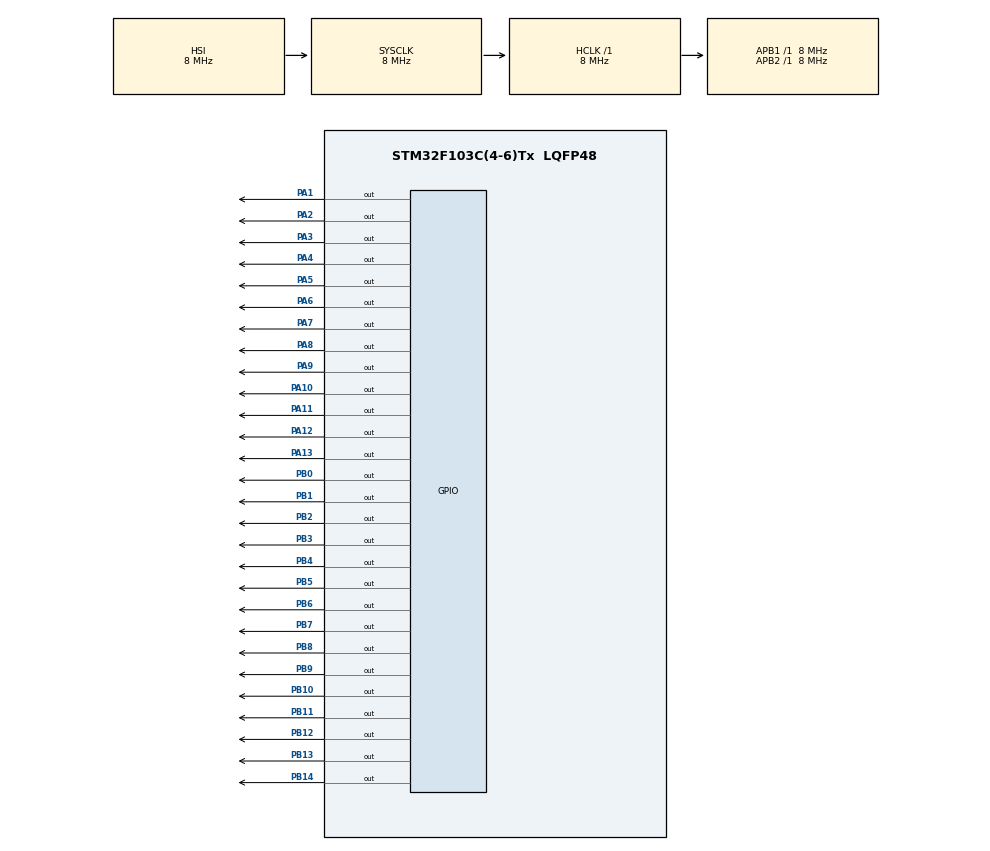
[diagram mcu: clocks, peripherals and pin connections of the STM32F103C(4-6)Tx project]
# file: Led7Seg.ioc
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Mcu.Family=STM32F1
Mcu.Name=STM32F103C(4-6)Tx
Mcu.Package=LQFP48
NVIC.PriorityGroup=NVIC_PRIORITYGROUP_4
NVIC.TIM2_IRQn=true\:0\:0\:false\:false\:true\:true\:true
PA1.Signal=GPIO_Output
PA10.Signal=GPIO_Output
PA11.Signal=GPIO_Output
PA12.Signal=GPIO_Output
PA13.Signal=GPIO_Output
PA2.Signal=GPIO_Output
PA3.Signal=GPIO_Output
PA4.Signal=GPIO_Output
PA5.Signal=GPIO_Output
PA6.Signal=GPIO_Output
PA7.Signal=GPIO_Output
PA8.Signal=GPIO_Output
PA9.Signal=GPIO_Output
PB0.Signal=GPIO_Output
PB1.Signal=GPIO_Output
PB10.Signal=GPIO_Output
PB11.Signal=GPIO_Output
PB12.Signal=GPIO_Output
PB13.Signal=GPIO_Output
PB14.Signal=GPIO_Output
PB2.Signal=GPIO_Output
PB3.Signal=GPIO_Output
PB4.Signal=GPIO_Output
PB5.Signal=GPIO_Output
PB6.Signal=GPIO_Output
PB7.Signal=GPIO_Output
PB8.Signal=GPIO_Output
PB9.Signal=GPIO_Output
ProjectManager.HeapSize=0x200
ProjectManager.StackSize=0x400
ProjectManager.TargetToolchain=STM32CubeIDE
RCC.AHBFreq_Value=8000000
RCC.APB1Freq_Value=8000000
RCC.APB1TimFreq_Value=8000000
RCC.APB2Freq_Value=8000000
RCC.APB2TimFreq_Value=8000000
RCC.HCLKFreq_Value=8000000
RCC.SYSCLKFreq_VALUE=8000000
RCC.USBFreq_Value=8000000
TIM2.Period=9
TIM2.Prescaler=7999
VP_SYS_VS_ND.Mode=No_Debug
VP_TIM2_VS_ClockSourceINT.Mode=Internal
board=custom

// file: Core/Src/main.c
/* USER CODE BEGIN Header */
/**
  ******************************************************************************
  * @file           : main.c
  * @brief          : Main program body
  ******************************************************************************
  * @attention
  *
  * <h2><center>&copy; Copyright (c) 2021 STMicroelectronics.
  * All rights reserved.</center></h2>
  *
  * This software component is licensed by ST under BSD 3-Clause license,
  * the "License"; You may not use this file except in compliance with the
  * License. You may obtain a copy of the License at:
  *                        opensource.org/licenses/BSD-3-Clause
  *
  ******************************************************************************
  */
/* USER CODE END Header */
#include "main.h"

/* USER CODE BEGIN PD */
#define IS_LED7SEG_VALUE(VALUE) (VALUE > -1 && VALUE < 10)
/* USER CODE END PD */

TIM_HandleTypeDef htim2;

/* USER CODE BEGIN PV */
const int MAX_LED = 4;
int index_led = 0;
static char led_buffer[4] = {1, 2, 3, 0};
int hour = 23, minute = 03, second = 0;
char count = 0;
//int LED = 5;
int ledIndex = 0;

int timer0_counter = 0;
int timer0_flag = 0;

int timer1_counter = 0;
int timer1_flag = 0;

int timer2_counter = 0;
int timer2_flag = 0;

int timer3_counter = 0;
int timer3_flag = 0;

int TIMER_CYCLE = 10;

const int MAX_LED_MATRIX = 8;
int index_led_matrix = 0;
uint8_t matrix_buffer [8] = {0x18 , 0x3C , 0x66 , 0x66 , 0x7E , 0x7E , 0x66 , 0x66 };
uint8_t matrix [14][8] = {	{0x00 , 0x00 , 0x00 , 0x00 , 0x00 , 0x00 , 0x00 , 0x00 },

							{0x00 , 0x00 , 0x80 , 0x80 , 0x80 , 0x80 , 0x80 , 0x80 },
							{0x00 , 0x80 , 0xC0 , 0xC0 , 0xC0 , 0xC0 , 0xC0 , 0xC0 },
							{0x80 , 0xC0 , 0x60 , 0x60 , 0xE0 , 0xE0 , 0x60 , 0x60 },
							{0xC0 , 0xE0 , 0x30 , 0x30 , 0xF0 , 0xF0 , 0x30 , 0x30 },
							{0x60 , 0xF0 , 0x98 , 0x98 , 0xF8 , 0xF8 , 0x98 , 0x98 },
							{0x30 , 0x78 , 0xCC , 0xCC , 0xFC , 0xFC , 0xCC , 0xCC },

							{0x18 , 0x3C , 0x66 , 0x66 , 0x7E , 0x7E , 0x66 , 0x66 },

							{0x0C , 0x1E , 0x33 , 0x33 , 0x3F , 0x3F , 0x33 , 0x33 },
							{0x06 , 0x0F , 0x19 , 0x19 , 0x1F , 0x1F , 0x19 , 0x19 },
							{0x03 , 0x07 , 0x0C , 0x0C , 0x0F , 0x0F , 0x0C , 0x0C },
							{0x01 , 0x03 , 0x06 , 0x06 , 0x07 , 0x07 , 0x06 , 0x06 },
							{0x00 , 0x01 , 0x03 , 0x03 , 0x03 , 0x03 , 0x03 , 0x03 },
							{0x00 , 0x00 , 0x01 , 0x01 , 0x01 , 0x01 , 0x01 , 0x01 }};

/* USER CODE END PV */

void SystemClock_Config(void);
static void MX_TIM2_Init(void);
static void MX_GPIO_Init(void);
/* USER CODE BEGIN PFP */
void display7SEG(int);
void update7SEG (int);
void updateClockBuffer();
void setTimer0(int);
void setTimer1(int);
void setTimer2(int);
void setTimer3(int);
void timer_run();

void updateLEDMatrix(int, int);

/* USER CODE END PFP */

int main(void)
{

  /* MCU Configuration--------------------------------------------------------*/

  /* Reset of all peripherals, Initializes the Flash interface and the Systick. */
  HAL_Init();

  /* Configure the system clock */
  SystemClock_Config();

  /* Initialize all configured peripherals */
  MX_TIM2_Init();
  MX_GPIO_Init();
  /* USER CODE BEGIN 2 */
  HAL_TIM_Base_Start_IT(&htim2);
  /* USER CODE END 2 */

  /* Infinite loop */
  /* USER CODE BEGIN WHILE */
  setTimer0(10);
  setTimer1(10);
  setTimer2(10);
  setTimer3(10);
  int animation = 7;
  while (1)
  {
    /* USER CODE END WHILE */

    /* USER CODE BEGIN 3 */
/*
	  if (timer0_flag == 1)
	  {
		  second ++;
		  if (second > 59){
			  second = 0;
			  minute++;
		  }
		  if (minute > 59){
			  minute = 0;
			  hour++;
		  }
		  if (hour > 23){
			  hour = 0;
		  }
		  updateClockBuffer ();
		  setTimer0(1000);
	  }
	  if (timer1_flag == 1)
	  {
		  HAL_GPIO_TogglePin(GPIOA, GPIO_PIN_9);
		  setTimer1(500);
	  }
	  if (timer2_flag == 1)
	  {
		  if (ledIndex == 4) ledIndex = 0;
		  update7SEG(ledIndex++);
		  setTimer2(250);
	  }
*/
	  if (timer3_flag == 1)
	  {
		  if (index_led_matrix == MAX_LED_MATRIX) {
			  index_led_matrix = 0;
			  if (++animation == 14) animation = 0;
		  }

		  updateLEDMatrix(index_led_matrix++, animation);
		  setTimer3(100);
	  }

  }
  /* USER CODE END 3 */
}

void SystemClock_Config(void)
{
  RCC_OscInitTypeDef RCC_OscInitStruct = {0};
  RCC_ClkInitTypeDef RCC_ClkInitStruct = {0};

  /** Initializes the RCC Oscillators according to the specified parameters
  * in the RCC_OscInitTypeDef structure.
  */
  RCC_OscInitStruct.OscillatorType = RCC_OSCILLATORTYPE_HSI;
  RCC_OscInitStruct.HSIState = RCC_HSI_ON;
  RCC_OscInitStruct.HSICalibrationValue = RCC_HSICALIBRATION_DEFAULT;
  RCC_OscInitStruct.PLL.PLLState = RCC_PLL_NONE;
  if (HAL_RCC_OscConfig(&RCC_OscInitStruct) != HAL_OK)
  {
    Error_Handler();
  }
  /** Initializes the CPU, AHB and APB buses clocks
  */
  RCC_ClkInitStruct.ClockType = RCC_CLOCKTYPE_HCLK|RCC_CLOCKTYPE_SYSCLK
                              |RCC_CLOCKTYPE_PCLK1|RCC_CLOCKTYPE_PCLK2;
  RCC_ClkInitStruct.SYSCLKSource = RCC_SYSCLKSOURCE_HSI;
  RCC_ClkInitStruct.AHBCLKDivider = RCC_SYSCLK_DIV1;
  RCC_ClkInitStruct.APB1CLKDivider = RCC_HCLK_DIV1;
  RCC_ClkInitStruct.APB2CLKDivider = RCC_HCLK_DIV1;

  if (HAL_RCC_ClockConfig(&RCC_ClkInitStruct, FLASH_LATENCY_0) != HAL_OK)
  {
    Error_Handler();
  }
}

static void MX_TIM2_Init(void)
{

  TIM_ClockConfigTypeDef sClockSourceConfig = {0};
  TIM_MasterConfigTypeDef sMasterConfig = {0};

  htim2.Instance = TIM2;
  htim2.Init.Prescaler = 7999;
  htim2.Init.CounterMode = TIM_COUNTERMODE_UP;
  htim2.Init.Period = 9;
  htim2.Init.ClockDivision = TIM_CLOCKDIVISION_DIV1;
  htim2.Init.AutoReloadPreload = TIM_AUTORELOAD_PRELOAD_DISABLE;
  if (HAL_TIM_Base_Init(&htim2) != HAL_OK)
  {
    Error_Handler();
  }
  sClockSourceConfig.ClockSource = TIM_CLOCKSOURCE_INTERNAL;
  if (HAL_TIM_ConfigClockSource(&htim2, &sClockSourceConfig) != HAL_OK)
  {
    Error_Handler();
  }
  sMasterConfig.MasterOutputTrigger = TIM_TRGO_RESET;
  sMasterConfig.MasterSlaveMode = TIM_MASTERSLAVEMODE_DISABLE;
  if (HAL_TIMEx_MasterConfigSynchronization(&htim2, &sMasterConfig) != HAL_OK)
  {
    Error_Handler();
  }

}

static void MX_GPIO_Init(void)
{
  GPIO_InitTypeDef GPIO_InitStruct = {0};

  /* GPIO Ports Clock Enable */
  __HAL_RCC_GPIOA_CLK_ENABLE();
  __HAL_RCC_GPIOB_CLK_ENABLE();

  /*Configure GPIO pin Output Level */
  HAL_GPIO_WritePin(GPIOA, GPIO_PIN_1|GPIO_PIN_2|GPIO_PIN_3|GPIO_PIN_4
                          |GPIO_PIN_5|GPIO_PIN_6|GPIO_PIN_7|GPIO_PIN_8
                          |GPIO_PIN_9|GPIO_PIN_10|GPIO_PIN_11|GPIO_PIN_12
                          |GPIO_PIN_13, GPIO_PIN_RESET);

  /*Configure GPIO pin Output Level */
  HAL_GPIO_WritePin(GPIOB, GPIO_PIN_0|GPIO_PIN_1|GPIO_PIN_2|GPIO_PIN_10
                          |GPIO_PIN_11|GPIO_PIN_12|GPIO_PIN_13|GPIO_PIN_14
                          |GPIO_PIN_3|GPIO_PIN_4|GPIO_PIN_5|GPIO_PIN_6
                          |GPIO_PIN_7|GPIO_PIN_8|GPIO_PIN_9, GPIO_PIN_RESET);

  /*Configure GPIO pins : PA1 PA2 PA3 PA4
                           PA5 PA6 PA7 PA8
                           PA9 PA10 PA11 PA12
                           PA13 */
  GPIO_InitStruct.Pin = GPIO_PIN_1|GPIO_PIN_2|GPIO_PIN_3|GPIO_PIN_4
                          |GPIO_PIN_5|GPIO_PIN_6|GPIO_PIN_7|GPIO_PIN_8
                          |GPIO_PIN_9|GPIO_PIN_10|GPIO_PIN_11|GPIO_PIN_12
                          |GPIO_PIN_13;
  GPIO_InitStruct.Mode = GPIO_MODE_OUTPUT_PP;
  GPIO_InitStruct.Pull = GPIO_NOPULL;
  GPIO_InitStruct.Speed = GPIO_SPEED_FREQ_LOW;
  HAL_GPIO_Init(GPIOA, &GPIO_InitStruct);

  /*Configure GPIO pins : PB0 PB1 PB2 PB10
                           PB11 PB12 PB13 PB14
                           PB3 PB4 PB5 PB6
                           PB7 PB8 PB9 */
  GPIO_InitStruct.Pin = GPIO_PIN_0|GPIO_PIN_1|GPIO_PIN_2|GPIO_PIN_10
                          |GPIO_PIN_11|GPIO_PIN_12|GPIO_PIN_13|GPIO_PIN_14
                          |GPIO_PIN_3|GPIO_PIN_4|GPIO_PIN_5|GPIO_PIN_6
                          |GPIO_PIN_7|GPIO_PIN_8|GPIO_PIN_9;
  GPIO_InitStruct.Mode = GPIO_MODE_OUTPUT_PP;
  GPIO_InitStruct.Pull = GPIO_NOPULL;
  GPIO_InitStruct.Speed = GPIO_SPEED_FREQ_LOW;
  HAL_GPIO_Init(GPIOB, &GPIO_InitStruct);

}

/* USER CODE BEGIN 4 */
void display7SEG(int NUM)
{
	assert_param(IS_LED7SEG_VALUE(NUM));
	uint16_t LED_Cathod[10] = {0x3F, 0x06, 0x5B, 0x4F, 0x66, 0x6D, 0x7D, 0x07, 0x7F, 0x6F};
	GPIOB->BSRR =  (uint32_t)((LED_Cathod[NUM]) << 16) | (~LED_Cathod[NUM]);
}

void updateClockBuffer()
{
	led_buffer[0] = hour / 10;
	led_buffer[1] = hour % 10;
	led_buffer[2] = minute / 10;
	led_buffer[3] = minute % 10;
}
void update7SEG (int index)
{
	//GPIOA->BSRR = (uint32_t)(1 << (22 + index)) | ~(~(GPIO_PIN_6 | GPIO_PIN_7 | GPIO_PIN_8 | GPIO_PIN_9) | (1 << (index + 6)));
	//display7SEG(led_buffer[index]);
	switch (index)
	{
	case 0:
		GPIOA->BSRR = (uint32_t)GPIO_PIN_10 << 16 | GPIO_PIN_11 | GPIO_PIN_12 | GPIO_PIN_13 ;
		//HAL_GPIO_WritePin(GPIOA, GPIO_PIN_7 | GPIO_PIN_8 | GPIO_PIN_9, GPIO_PIN_SET);
		//HAL_GPIO_WritePin(GPIOA, GPIO_PIN_6, GPIO_PIN_RESET);
		display7SEG(led_buffer[index]);
		break;
	case 1:
		GPIOA->BSRR = (uint32_t)GPIO_PIN_11 << 16 | GPIO_PIN_10 | GPIO_PIN_12 | GPIO_PIN_13 ;
		//HAL_GPIO_WritePin(GPIOA, GPIO_PIN_6 | GPIO_PIN_8 | GPIO_PIN_9, GPIO_PIN_SET);
		//HAL_GPIO_WritePin(GPIOA, GPIO_PIN_7, GPIO_PIN_RESET);
		display7SEG(led_buffer[index]);
		break;
	case 2:
		GPIOA->BSRR = (uint32_t)GPIO_PIN_12 << 16 | GPIO_PIN_10 | GPIO_PIN_11 | GPIO_PIN_13 ;
		//HAL_GPIO_WritePin(GPIOA, GPIO_PIN_6 | GPIO_PIN_7 | GPIO_PIN_9, GPIO_PIN_SET);
		//HAL_GPIO_WritePin(GPIOA, GPIO_PIN_8, GPIO_PIN_RESET);
		display7SEG(led_buffer[index]);
		break;
	case 3:
		GPIOA->BSRR = (uint32_t)GPIO_PIN_13 << 16 | GPIO_PIN_10 | GPIO_PIN_11 | GPIO_PIN_12 ;
		//HAL_GPIO_WritePin(GPIOA, GPIO_PIN_6 | GPIO_PIN_7 | GPIO_PIN_8, GPIO_PIN_SET);
		//HAL_GPIO_WritePin(GPIOA, GPIO_PIN_9, GPIO_PIN_RESET);
		display7SEG(led_buffer[index]);
		break;
	default:
		break;
	}
}

void updateLEDMatrix (int index, int time ){
	/*
	switch(index)
	{
	case 0:
		GPIOA->BSRR = (uint32_t)matrix_buffer[index] << 17 | ((uint16_t)(~matrix_buffer[index]) << 8 >> 7);
		GPIOB->BSRR = (uint32_t)GPIO_PIN_7 << 16 | GPIO_PIN_8 | GPIO_PIN_9 | GPIO_PIN_10 | GPIO_PIN_11 | GPIO_PIN_12 | GPIO_PIN_13 | GPIO_PIN_14;
		break;
	case 1:
		GPIOA->BSRR = (uint32_t)matrix_buffer[index] << 17 | ((uint16_t)(~matrix_buffer[index]) << 8 >> 7);
		GPIOB->BSRR = (uint32_t)GPIO_PIN_8 << 16 | GPIO_PIN_7 | GPIO_PIN_9 | GPIO_PIN_10 | GPIO_PIN_11 | GPIO_PIN_12 | GPIO_PIN_13 | GPIO_PIN_14;
		break;
	case 2:
		GPIOA->BSRR = (uint32_t)matrix_buffer[index] << 17 | ((uint16_t)(~matrix_buffer[index]) << 8 >> 7);
		GPIOB->BSRR = (uint32_t)GPIO_PIN_9 << 16 | GPIO_PIN_7 | GPIO_PIN_8 | GPIO_PIN_10 | GPIO_PIN_11 | GPIO_PIN_12 | GPIO_PIN_13 | GPIO_PIN_14;
		break;
	case 3:
		GPIOA->BSRR = (uint32_t)matrix_buffer[index] << 17 | ((uint16_t)(~matrix_buffer[index]) << 8 >> 7);
		GPIOB->BSRR = (uint32_t)GPIO_PIN_10 << 16 | GPIO_PIN_7 | GPIO_PIN_8 | GPIO_PIN_9 | GPIO_PIN_11 | GPIO_PIN_12 | GPIO_PIN_13 | GPIO_PIN_14;
		break;
	case 4:
		GPIOA->BSRR = (uint32_t)matrix_buffer[index] << 17 | ((uint16_t)(~matrix_buffer[index]) << 8 >> 7);
		GPIOB->BSRR = (uint32_t)GPIO_PIN_11 << 16 | GPIO_PIN_7 | GPIO_PIN_8 | GPIO_PIN_9 | GPIO_PIN_10 | GPIO_PIN_12 | GPIO_PIN_13 | GPIO_PIN_14;
		break;
	case 5:
		GPIOA->BSRR = (uint32_t)matrix_buffer[index] << 17 | ((uint16_t)(~matrix_buffer[index]) << 8 >> 7);
		GPIOB->BSRR = (uint32_t)GPIO_PIN_12 << 16 | GPIO_PIN_7 | GPIO_PIN_8 | GPIO_PIN_9 | GPIO_PIN_10 | GPIO_PIN_11 | GPIO_PIN_13 | GPIO_PIN_14;
		break;
	case 6:
		GPIOA->BSRR = (uint32_t)matrix_buffer[index] << 17 | ((uint16_t)(~matrix_buffer[index]) << 8 >> 7);
		GPIOB->BSRR = (uint32_t)GPIO_PIN_13 << 16 | GPIO_PIN_7 | GPIO_PIN_8 | GPIO_PIN_9 | GPIO_PIN_10 | GPIO_PIN_11 | GPIO_PIN_12 | GPIO_PIN_14;
		break;
	case 7:
		GPIOA->BSRR = (uint32_t)matrix_buffer[index] << 17 | ((uint16_t)(~matrix_buffer[index]) << 8 >> 7);
		GPIOB->BSRR = (uint32_t)GPIO_PIN_14 << 16 | GPIO_PIN_7 | GPIO_PIN_8 | GPIO_PIN_9 | GPIO_PIN_10 | GPIO_PIN_11 | GPIO_PIN_12 | GPIO_PIN_13;
		break;
	default:
		break;
	}
	*/
	switch(index)
	{
	case 0:
		GPIOA->BSRR = (uint32_t)matrix[time][index] << 17 | ((uint16_t)(~matrix[time][index]) << 8 >> 7);
		GPIOB->BSRR = (uint32_t)GPIO_PIN_7 << 16 | GPIO_PIN_8 | GPIO_PIN_9 | GPIO_PIN_10 | GPIO_PIN_11 | GPIO_PIN_12 | GPIO_PIN_13 | GPIO_PIN_14;
		break;
	case 1:
		GPIOA->BSRR = (uint32_t)matrix[time][index] << 17 | ((uint16_t)(~matrix[time][index]) << 8 >> 7);
		GPIOB->BSRR = (uint32_t)GPIO_PIN_8 << 16 | GPIO_PIN_7 | GPIO_PIN_9 | GPIO_PIN_10 | GPIO_PIN_11 | GPIO_PIN_12 | GPIO_PIN_13 | GPIO_PIN_14;
		break;
	case 2:
		GPIOA->BSRR = (uint32_t)matrix[time][index] << 17 | ((uint16_t)(~matrix[time][index]) << 8 >> 7);
		GPIOB->BSRR = (uint32_t)GPIO_PIN_9 << 16 | GPIO_PIN_7 | GPIO_PIN_8 | GPIO_PIN_10 | GPIO_PIN_11 | GPIO_PIN_12 | GPIO_PIN_13 | GPIO_PIN_14;
		break;
	case 3:
		GPIOA->BSRR = (uint32_t)matrix[time][index] << 17 | ((uint16_t)(~matrix[time][index]) << 8 >> 7);
		GPIOB->BSRR = (uint32_t)GPIO_PIN_10 << 16 | GPIO_PIN_7 | GPIO_PIN_8 | GPIO_PIN_9 | GPIO_PIN_11 | GPIO_PIN_12 | GPIO_PIN_13 | GPIO_PIN_14;
		break;
	case 4:
		GPIOA->BSRR = (uint32_t)matrix[time][index] << 17 | ((uint16_t)(~matrix[time][index]) << 8 >> 7);
		GPIOB->BSRR = (uint32_t)GPIO_PIN_11 << 16 | GPIO_PIN_7 | GPIO_PIN_8 | GPIO_PIN_9 | GPIO_PIN_10 | GPIO_PIN_12 | GPIO_PIN_13 | GPIO_PIN_14;
		break;
	case 5:
		GPIOA->BSRR = (uint32_t)matrix[time][index] << 17 | ((uint16_t)(~matrix[time][index]) << 8 >> 7);
		GPIOB->BSRR = (uint32_t)GPIO_PIN_12 << 16 | GPIO_PIN_7 | GPIO_PIN_8 | GPIO_PIN_9 | GPIO_PIN_10 | GPIO_PIN_11 | GPIO_PIN_13 | GPIO_PIN_14;
		break;
	case 6:
		GPIOA->BSRR = (uint32_t)matrix[time][index] << 17 | ((uint16_t)(~matrix[time][index]) << 8 >> 7);
		GPIOB->BSRR = (uint32_t)GPIO_PIN_13 << 16 | GPIO_PIN_7 | GPIO_PIN_8 | GPIO_PIN_9 | GPIO_PIN_10 | GPIO_PIN_11 | GPIO_PIN_12 | GPIO_PIN_14;
		break;
	case 7:
		GPIOA->BSRR = (uint32_t)matrix[time][index] << 17 | ((uint16_t)(~matrix[time][index]) << 8 >> 7);
		GPIOB->BSRR = (uint32_t)GPIO_PIN_14 << 16 | GPIO_PIN_7 | GPIO_PIN_8 | GPIO_PIN_9 | GPIO_PIN_10 | GPIO_PIN_11 | GPIO_PIN_12 | GPIO_PIN_13;
		break;
	default:
		break;
	}
}

void setTimer0 ( int duration )
{
	timer0_counter = duration / TIMER_CYCLE ;
	timer0_flag = 0;
}

void setTimer1 ( int duration )
{
	timer1_counter = duration / TIMER_CYCLE ;
	timer1_flag = 0;
}

void setTimer2 ( int duration )
{
	timer2_counter = duration / TIMER_CYCLE ;
	timer2_flag = 0;
}

void setTimer3 ( int duration )
{
	timer3_counter = duration / TIMER_CYCLE ;
	timer3_flag = 0;
}

void timer_run ()
{

	if( timer0_counter > 0){
		timer0_counter--;
		if( timer0_counter == 0) timer0_flag = 1;
	}
	if( timer1_counter > 0){
		timer1_counter--;
		if( timer1_counter == 0) timer1_flag = 1;
	}
	if( timer2_counter > 0){
		timer2_counter--;
		if(timer2_counter == 0) timer2_flag = 1;
	}
	if( timer3_counter > 0){
		timer3_counter --;
		if(timer3_counter == 0) timer3_flag = 1;
	}
}

void HAL_TIM_PeriodElapsedCallback( TIM_HandleTypeDef * htim )
{
	timer_run();
}
/* USER CODE END 4 */

void Error_Handler(void)
{
  __disable_irq();
  while (1)
  {
  }
}

/************************ (C) COPYRIGHT STMicroelectronics *****END OF FILE****/
